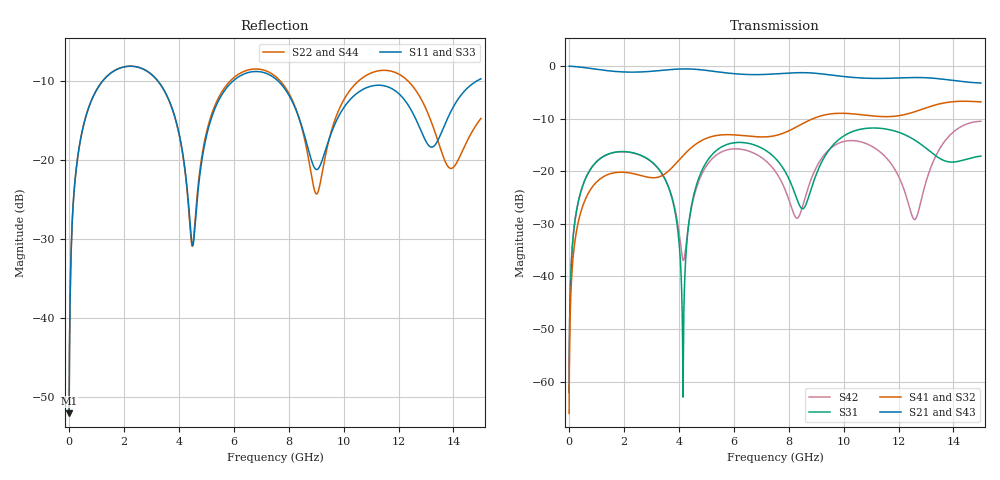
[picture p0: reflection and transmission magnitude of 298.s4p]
! Created with skrf 1.8.0 (http://scikit-rf.org).
# GHz S RI R 50.0
!freq ReS11 ImS11 ReS12 ImS12 ReS13 ImS13
! ReS14 ImS14
! ReS21 ImS21 ReS22 ImS22 ReS23 ImS23
! ReS24 ImS24
! ReS31 ImS31 ReS32 ImS32 ReS33 ImS33
! ReS34 ImS34
! ReS41 ImS41 ReS42 ImS42 ReS43 ImS43
! ReS44 ImS44
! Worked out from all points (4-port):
!   2499 points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, 5 MHz to 15 GHz, reference 50 ohm
!   strongest paths, dB at 5 MHz, 3.476 GHz, 7.19 GHz, 11.1 GHz, 15 GHz:
!     S21: 0.0, -0.8, -1.6, -2.3, -3.2
!     S43: 0.0, -0.8, -1.6, -2.3, -3.2
!     S41: -66.0, -20.6, -13.5, -9.5, -6.8
!     S32: -66.0, -20.6, -13.5, -9.5, -6.8
!     S31: -62.1, -21.3, -16.1, -11.8, -17.1
!     S42: -62.1, -21.3, -18.1, -15.5, -10.5
!   lowest |S11| = -52.0 dB at 5 MHz (marker M1), VSWR 1.01, Z = 50.2 + j0.152 ohm
!   |S11| at or under -10 dB: start of sweep to 1.22 GHz; 3.243 GHz to 5.966 GHz (2.723 GHz wide, 59.1 % of centre); 7.624 GHz to 14.84 GHz (7.212 GHz wide, 64.2 % of centre)
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0.005  0.00199 0.00151  0.998 -0.00387  0.000101 0.000778  -9.79e-05 -0.000491
       0.998 -0.00387  0.00199 0.00151  -9.79e-05 -0.000491  0.000101 0.000778
       0.000101 0.000778  -9.79e-05 -0.000491  0.00199 0.00151  0.998 -0.00387
       -9.79e-05 -0.000491  0.000101 0.000778  0.998 -0.00387  0.00199 0.00151
1.369321  0.2925 0.1688  0.4999 -0.7559  0.1337 0.0524  -0.092 0.00183
          0.4999 -0.7559  0.293 0.1684  -0.0919 0.00173  0.1326 0.0541
          0.1337 0.0524  -0.0919 0.00173  0.2926 0.1688  0.4998 -0.7559
          -0.092 0.00183  0.1326 0.0541  0.4998 -0.7559  0.293 0.1684
4.15173  0.0516 -0.095  -0.8898 -0.3013  0.000701 -0.000126  -0.0402 0.1347
         -0.8898 -0.3013  0.0501 -0.0933  -0.0415 0.1343  -0.0137 -0.004
         0.000701 -0.000126  -0.0415 0.1343  0.0509 -0.0961  -0.8897 -0.3013
         -0.0402 0.1347  -0.0137 -0.004  -0.8897 -0.3013  0.0514 -0.0938
5.227178  0.1257 0.1475  -0.8018 0.3962  0.1191 0.0836  0.1238 0.1756
          -0.8018 0.3962  0.1332 0.1529  0.1221 0.1767  0.0881 0.099
          0.1191 0.0836  0.1221 0.1767  0.1245 0.1477  -0.8018 0.3964
          0.1238 0.1756  0.0881 0.099  -0.8018 0.3964  0.1341 0.1514
9.04752  0.0875 -0.00119  0.8441 0.1109  0.00938 0.0994  0.0309 -0.3266
         0.8441 0.1109  0.0618 0.00334  0.0365 -0.3262  -0.0121 0.1134
         0.00938 0.0994  0.0365 -0.3262  0.086 -0.0025  0.8442 0.1098
         0.0309 -0.3266  -0.0121 0.1134  0.8442 0.1098  0.0638 0.000892
11.86119  0.2716 -0.0532  -0.1022 -0.7617  0.0775 -0.2286  -0.319 0.0976
          -0.1022 -0.7617  0.3451 -0.1044  -0.32 0.089  0.0994 -0.0334
          0.0775 -0.2286  -0.32 0.089  0.2684 -0.0568  -0.1062 -0.7622
          -0.319 0.0976  0.0994 -0.0334  -0.1062 -0.7622  0.3407 -0.1046
15  0.3169 0.0823  -0.5306 0.4417  0.1266 0.0579  0.3474 0.2963
    -0.5306 0.4417  0.1728 0.0626  0.3374 0.3061  0.2986 -0.00742
    0.1266 0.0579  0.3374 0.3061  0.3206 0.0921  -0.5234 0.4465
    0.3474 0.2963  0.2986 -0.00742  -0.5234 0.4465  0.1799 0.0621
